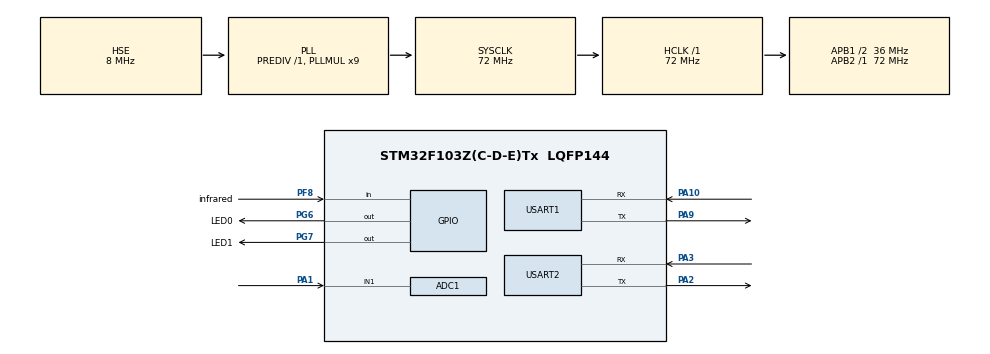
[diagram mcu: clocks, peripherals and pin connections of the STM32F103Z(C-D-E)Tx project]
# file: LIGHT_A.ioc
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ADC1.Channel-3\#ChannelRegularConversion=ADC_CHANNEL_1
ADC1.NbrOfConversionFlag=1
ADC1.Rank-3\#ChannelRegularConversion=1
ADC1.SamplingTime-3\#ChannelRegularConversion=ADC_SAMPLETIME_1CYCLE_5
ADC1.master=1
Mcu.Family=STM32F1
Mcu.Name=STM32F103Z(C-D-E)Tx
Mcu.Package=LQFP144
NVIC.PriorityGroup=NVIC_PRIORITYGROUP_4
NVIC.USART1_IRQn=true\:0\:0\:false\:false\:true\:true\:true\:true
NVIC.USART2_IRQn=true\:0\:0\:false\:false\:true\:true\:true\:true
OSC_IN.Mode=HSE-External-Oscillator
OSC_IN.Signal=RCC_OSC_IN
OSC_OUT.Mode=HSE-External-Oscillator
OSC_OUT.Signal=RCC_OSC_OUT
PA1.Signal=ADCx_IN1
PA10.Mode=Asynchronous
PA10.Signal=USART1_RX
PA13.Mode=Serial_Wire
PA13.Signal=SYS_JTMS-SWDIO
PA14.Mode=Serial_Wire
PA14.Signal=SYS_JTCK-SWCLK
PA2.Mode=Asynchronous
PA2.Signal=USART2_TX
PA3.Mode=Asynchronous
PA3.Signal=USART2_RX
PA9.Mode=Asynchronous
PA9.Signal=USART1_TX
PC14-OSC32_IN.Mode=LSE-External-Oscillator
PC14-OSC32_IN.Signal=RCC_OSC32_IN
PC15-OSC32_OUT.Mode=LSE-External-Oscillator
PC15-OSC32_OUT.Signal=RCC_OSC32_OUT
PF8.GPIO_Label=infrared
PF8.Signal=GPIO_Input
PG6.GPIO_Label=LED0
PG6.PinState=GPIO_PIN_SET
PG6.Signal=GPIO_Output
PG7.GPIO_Label=LED1
PG7.PinState=GPIO_PIN_SET
PG7.Signal=GPIO_Output
ProjectManager.HeapSize=0x200
ProjectManager.StackSize=0x400
ProjectManager.TargetToolchain=MDK-ARM V5.32
RCC.ADCPresc=RCC_ADCPCLK2_DIV6
RCC.AHBFreq_Value=72000000
RCC.APB1CLKDivider=RCC_HCLK_DIV2
RCC.APB1Freq_Value=36000000
RCC.APB1TimFreq_Value=72000000
RCC.APB2Freq_Value=72000000
RCC.APB2TimFreq_Value=72000000
RCC.HCLKFreq_Value=72000000
RCC.PLLMUL=RCC_PLL_MUL9
RCC.PLLSourceVirtual=RCC_PLLSOURCE_HSE
RCC.SYSCLKFreq_VALUE=72000000
RCC.SYSCLKSource=RCC_SYSCLKSOURCE_PLLCLK
RCC.USBFreq_Value=72000000
SH.ADCx_IN1.0=ADC1_IN1,IN1
USART1.VirtualMode=VM_ASYNC
USART2.VirtualMode=VM_ASYNC
board=custom

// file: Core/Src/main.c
/* USER CODE BEGIN Header */
/**
  ******************************************************************************
  * @file           : main.c
  * @brief          : Main program body
  ******************************************************************************
  * @attention
  *
  * Copyright (c) 2024 STMicroelectronics.
  * All rights reserved.
  *
  * This software is licensed under terms that can be found in the LICENSE file
  * in the root directory of this software component.
  * If no LICENSE file comes with this software, it is provided AS-IS.
  *
  ******************************************************************************
  */
/* USER CODE END Header */
#include "main.h"
#include "adc.h"
#include "usart.h"
#include "gpio.h"

/* USER CODE BEGIN Includes */
#include <string.h>
#include <stdio.h>

#define RXBUFFERSIZE  256
#define RXBUFFERSIZE  256
char RxBuffer[RXBUFFERSIZE];
   //最大接收字节数
char RxBuffer[RXBUFFERSIZE];   //接收数据
uint8_t aRxBuffer;			//接收中断缓冲
uint8_t Uart1_Rx_Cnt = 0;		//接收缓冲计数

#define RXBUFFERSIZE2  256
#define RXBUFFERSIZE2  256
char RxBuffer2[RXBUFFERSIZE2];
   //最大接收字节数
char RxBuffer2[RXBUFFERSIZE2];   //接收数据
uint8_t aRxBuffer2;			//接收中断缓冲
uint8_t Uart1_Rx_Cnt2 = 0;		//接收缓冲计数

/* USER CODE END Includes */

void SystemClock_Config(void);

/* USER CODE BEGIN 0 */
uint8_t data[20]= "100";
/* USER CODE END 0 */

int main(void)
{
  /* USER CODE BEGIN 1 */
	uint16_t light_data = 0;
	float light_vu = 0;
  /* USER CODE END 1 */

  /* MCU Configuration--------------------------------------------------------*/

  /* Reset of all peripherals, Initializes the Flash interface and the Systick. */
  HAL_Init();

  /* Configure the system clock */
  SystemClock_Config();

  /* Initialize all configured peripherals */
  MX_GPIO_Init();
  MX_USART1_UART_Init();
  MX_USART2_UART_Init();
  MX_ADC1_Init();
  /* USER CODE BEGIN 2 */
	HAL_UART_Receive_IT(&huart1, (uint8_t *)&aRxBuffer, 1);
	HAL_UART_Receive_IT(&huart2, (uint8_t *)&aRxBuffer2, 1);

  /* USER CODE END 2 */

  /* Infinite loop */
  /* USER CODE BEGIN WHILE */
  while (1)
  {

		HAL_ADC_Start(&hadc1);     //启动ADC转换
		HAL_ADC_PollForConversion(&hadc1, 50);   //等待转换完成，时间为50ms
		if(HAL_IS_BIT_SET(HAL_ADC_GetState(&hadc1), HAL_ADC_STATE_REG_EOC))
	  {
			light_data = HAL_ADC_GetValue(&hadc1);   //获取AD值
			light_vu = light_data/3.3;
	  }

		printf("红外感应：%d , 光照：%d \n",HAL_GPIO_ReadPin(infrared_GPIO_Port,infrared_Pin),(uint16_t)light_vu);

		USART2_printf("%d,%d",HAL_GPIO_ReadPin(infrared_GPIO_Port,infrared_Pin),(uint16_t)light_vu);

		HAL_GPIO_WritePin(LED0_GPIO_Port,LED0_Pin,GPIO_PIN_RESET);
		HAL_Delay(500);
		HAL_GPIO_WritePin(LED0_GPIO_Port,LED0_Pin,GPIO_PIN_SET);
		HAL_Delay(500);
    /* USER CODE END WHILE */

  }
}

void SystemClock_Config(void)
{
  RCC_OscInitTypeDef RCC_OscInitStruct = {0};
  RCC_ClkInitTypeDef RCC_ClkInitStruct = {0};
  RCC_PeriphCLKInitTypeDef PeriphClkInit = {0};

  /** Initializes the RCC Oscillators according to the specified parameters
  * in the RCC_OscInitTypeDef structure.
  */
  RCC_OscInitStruct.OscillatorType = RCC_OSCILLATORTYPE_HSE;
  RCC_OscInitStruct.HSEState = RCC_HSE_ON;
  RCC_OscInitStruct.HSEPredivValue = RCC_HSE_PREDIV_DIV1;
  RCC_OscInitStruct.HSIState = RCC_HSI_ON;
  RCC_OscInitStruct.PLL.PLLState = RCC_PLL_ON;
  RCC_OscInitStruct.PLL.PLLSource = RCC_PLLSOURCE_HSE;
  RCC_OscInitStruct.PLL.PLLMUL = RCC_PLL_MUL9;
  if (HAL_RCC_OscConfig(&RCC_OscInitStruct) != HAL_OK)
  {
    Error_Handler();
  }

  /** Initializes the CPU, AHB and APB buses clocks
  */
  RCC_ClkInitStruct.ClockType = RCC_CLOCKTYPE_HCLK|RCC_CLOCKTYPE_SYSCLK
                              |RCC_CLOCKTYPE_PCLK1|RCC_CLOCKTYPE_PCLK2;
  RCC_ClkInitStruct.SYSCLKSource = RCC_SYSCLKSOURCE_PLLCLK;
  RCC_ClkInitStruct.AHBCLKDivider = RCC_SYSCLK_DIV1;
  RCC_ClkInitStruct.APB1CLKDivider = RCC_HCLK_DIV2;
  RCC_ClkInitStruct.APB2CLKDivider = RCC_HCLK_DIV1;

  if (HAL_RCC_ClockConfig(&RCC_ClkInitStruct, FLASH_LATENCY_2) != HAL_OK)
  {
    Error_Handler();
  }
  PeriphClkInit.PeriphClockSelection = RCC_PERIPHCLK_ADC;
  PeriphClkInit.AdcClockSelection = RCC_ADCPCLK2_DIV6;
  if (HAL_RCCEx_PeriphCLKConfig(&PeriphClkInit) != HAL_OK)
  {
    Error_Handler();
  }
}

/* USER CODE BEGIN 4 */

void HAL_UART_RxCpltCallback(UART_HandleTypeDef *huart)
{
  /* Prevent unused argument(s) compilation warning */
  UNUSED(huart);
  /* NOTE: This function Should not be modified, when the callback is needed,
           the HAL_UART_TxCpltCallback could be implemented in the user file
   */
	if(huart->Instance == USART1)
	{
		if(Uart1_Rx_Cnt >= 255)  //溢出判断
		{
			Uart1_Rx_Cnt = 0;
			memset(RxBuffer,0x00,sizeof(RxBuffer));
			HAL_UART_Transmit(&huart1, (uint8_t *)"数据溢出", 10,0xFFFF);

		}
		else
		{
			RxBuffer[Uart1_Rx_Cnt++] = aRxBuffer;   //接收数据转存
		HAL_GPIO_WritePin(LED1_GPIO_Port,LED1_Pin,GPIO_PIN_RESET);
				HAL_UART_Transmit(&huart1, (uint8_t *)&RxBuffer, Uart1_Rx_Cnt,0xFFFF); //将收到的信息发送出去
							while(HAL_UART_GetState(&huart1) == HAL_UART_STATE_BUSY_TX);//检测UART发送结束
				Uart1_Rx_Cnt = 0;
				memset(RxBuffer,0x00,sizeof(RxBuffer)); //清空数组
		}
		HAL_GPIO_WritePin(LED1_GPIO_Port,LED1_Pin,GPIO_PIN_SET);
		HAL_UART_Receive_IT(&huart1, (uint8_t *)&aRxBuffer, 1);   //再开启接收中断
	}
	else if(huart->Instance == USART2)
	{
		if(Uart1_Rx_Cnt2 >= 255)  //溢出判断
		{
				Uart1_Rx_Cnt2 = 0;
				memset(RxBuffer2,0x00,sizeof(RxBuffer2));
				HAL_UART_Transmit(&huart2, (uint8_t *)"数据溢出", 10,0xFFFF);

		}
		else
		{
				RxBuffer2[Uart1_Rx_Cnt2++] = aRxBuffer2;   //接收数据转存
		HAL_GPIO_WritePin(LED1_GPIO_Port,LED1_Pin,GPIO_PIN_RESET);
				HAL_UART_Transmit(&huart1, (uint8_t *)&RxBuffer2, Uart1_Rx_Cnt2,0xFFFF); //将收到的信息发送出去
						while(HAL_UART_GetState(&huart2) == HAL_UART_STATE_BUSY_TX);//检测UART发送结束
				Uart1_Rx_Cnt2 = 0;
				memset(RxBuffer2,0x00,sizeof(RxBuffer2)); //清空数组
		}
		HAL_GPIO_WritePin(LED1_GPIO_Port,LED1_Pin,GPIO_PIN_SET);
		HAL_UART_Receive_IT(&huart2, (uint8_t *)&aRxBuffer2, 1);   //再开启接收中断
	}

}

/* USER CODE END 4 */

void Error_Handler(void)
{
  __disable_irq();
  while (1)
  {
  }
}
